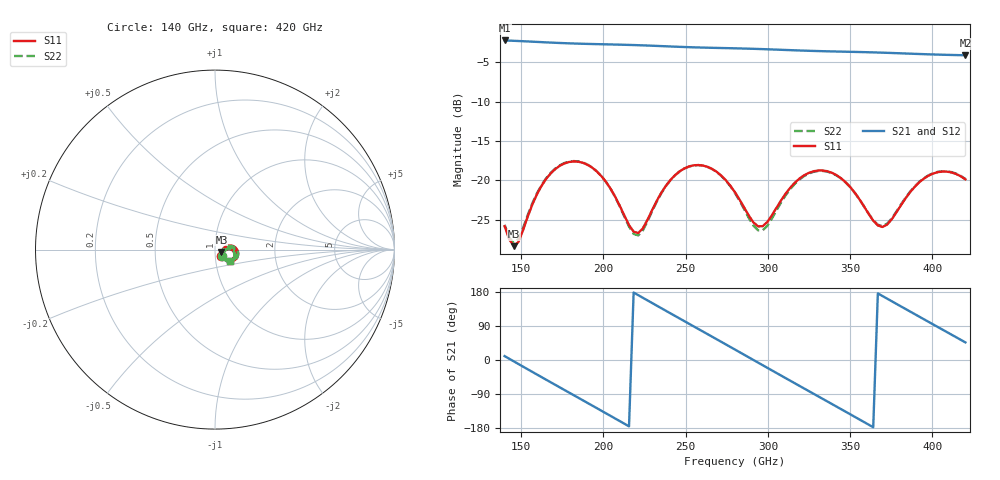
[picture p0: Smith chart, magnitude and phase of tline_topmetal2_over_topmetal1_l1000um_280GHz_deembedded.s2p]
! Created with skrf 2.2.0 (http://scikit-rf.org).
# GHz S DB R 50.0
! Port[1] = P1
! Port[2] = P2
!freq dBS11 angS11 dBS21 angS21 dBS12 angS12 dBS22 angS22
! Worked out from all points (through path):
!   101 points, 140 GHz to 420 GHz, reference 50 ohm
!   highest |S21| = -2.20 dB at 140 GHz (marker M1); lowest = -4.1 dB at 420 GHz (marker M2)
!   group delay of S21, straight-line fit = 6.78 ps
!   lowest |S11| = -28.4 dB at 145.6 GHz (marker M3), VSWR 1.08, Z = 53.7 - j1.37 ohm
!   |S11| at or under -10 dB: start of sweep to end of sweep
!   |S22| runs from -28.0 to -17.5 dB; largest |S21 - S12| = 1.1e-13
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140  -25.82 -46.5  -2.20 10.3  -2.20 10.3  -25.66 -45.8
145.6  -28.37 -19.5  -2.25 -3.6  -2.25 -3.6  -28.01 -19.5
156.8  -23.10 17.3  -2.36 -31.3  -2.36 -31.3  -22.94 15.6
168  -19.11 7.8  -2.47 -58.7  -2.47 -58.7  -19.04 6.3
187.6  -17.77 -23.1  -2.62 -106.5  -2.62 -106.5  -17.73 -24.7
201.6  -20.19 -41.9  -2.70 -140.7  -2.70 -140.7  -20.19 -43.7
212.8  -24.49 -41.3  -2.75 -168.2  -2.75 -168.2  -24.62 -43.6
221.2  -26.70 -13.5  -2.81 171.1  -2.81 171.1  -27.00 -14.6
235.2  -21.58 10.1  -2.92 136.7  -2.92 136.7  -21.65 9.9
246.4  -18.85 -1.1  -3.01 109.4  -3.01 109.4  -18.87 -1.7
257.6  -18.05 -17.5  -3.09 82.2  -3.09 82.2  -18.06 -18.5
280  -21.52 -43.5  -3.20 27.5  -3.20 27.5  -21.62 -45.6
296.8  -25.83 -15.0  -3.30 -13.7  -3.30 -13.7  -26.36 -15.6
313.6  -20.93 1.5  -3.43 -54.7  -3.43 -54.7  -21.10 2.6
327.6  -18.85 -13.9  -3.53 -88.7  -3.53 -88.7  -18.92 -13.2
338.8  -19.03 -29.1  -3.60 -115.9  -3.60 -115.9  -19.07 -28.5
352.8  -21.57 -42.7  -3.66 -150.0  -3.66 -150.0  -21.59 -42.1
366.8  -25.73 -28.1  -3.74 175.7  -3.74 175.7  -25.64 -27.4
375.2  -24.97 -5.1  -3.80 155.2  -3.80 155.2  -24.85 -5.0
397.6  -19.40 -9.0  -3.96 100.7  -3.96 100.7  -19.35 -9.1
408.8  -18.89 -23.3  -4.03 73.6  -4.03 73.6  -18.85 -23.4
420  -19.87 -36.8  -4.09 46.4  -4.09 46.4  -19.82 -36.7
